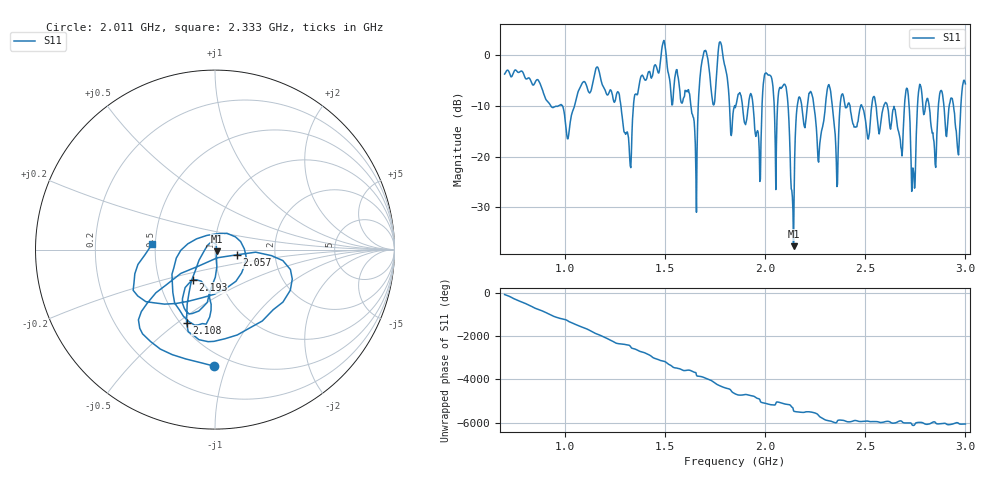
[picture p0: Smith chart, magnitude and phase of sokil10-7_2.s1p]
# HZ S RI R 50
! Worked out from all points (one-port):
!   808 points, 700 MHz to 3 GHz, reference 50 ohm
!   lowest |S11| = -37.6 dB at 2.142 GHz (marker M1), VSWR 1.03, Z = 50.9 - j0.937 ohm
!   |S11| at or under -10 dB: 988.4 MHz to 1.049 GHz (61.01 MHz wide, 5.99 % of centre); 1.28 GHz to 1.343 GHz (62.81 MHz wide, 4.79 % of centre); 2.61 GHz to 2.696 GHz (85.78 MHz wide, 3.23 % of centre)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
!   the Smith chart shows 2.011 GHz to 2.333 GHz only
!   S11 on the Smith chart (normalised r, x): 2.011 GHz: 0.40, -0.91; 2.057 GHz: 1.28, -0.07; 2.108 GHz: 0.54, -0.54; 2.193 GHz: 0.74, -0.26; 2.333 GHz: 0.48, +0.03
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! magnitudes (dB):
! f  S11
! 700 MHz  -3.8
! 987.9 MHz  -10.0
! 1.276 GHz  -8.8
! 1.324 GHz  -20.1
! 1.384 GHz  -4.1
! 1.564 GHz  -4.0
! 1.652 GHz  -17.6
! 1.698 GHz  0.8
! 1.851 GHz  -10.4
! 1.968 GHz  -16.4
! 2.011 GHz  -3.8
! 2.057 GHz  -18.0
! 2.108 GHz  -7.2
! 2.139 GHz  -30.6
! 2.142 GHz  -37.6
! 2.165 GHz  -9.0
! 2.193 GHz  -13.6
! 2.333 GHz  -9.1
! 2.356 GHz  -21.2
! 2.427 GHz  -11.2
! 2.678 GHz  -18.2
! 2.715 GHz  -8.0
! 2.741 GHz  -22.9
! 2.772 GHz  -5.8
! 2.846 GHz  -18.7
! 2.877 GHz  -7.0
! 2.963 GHz  -19.1
! 3 GHz  -5.7
